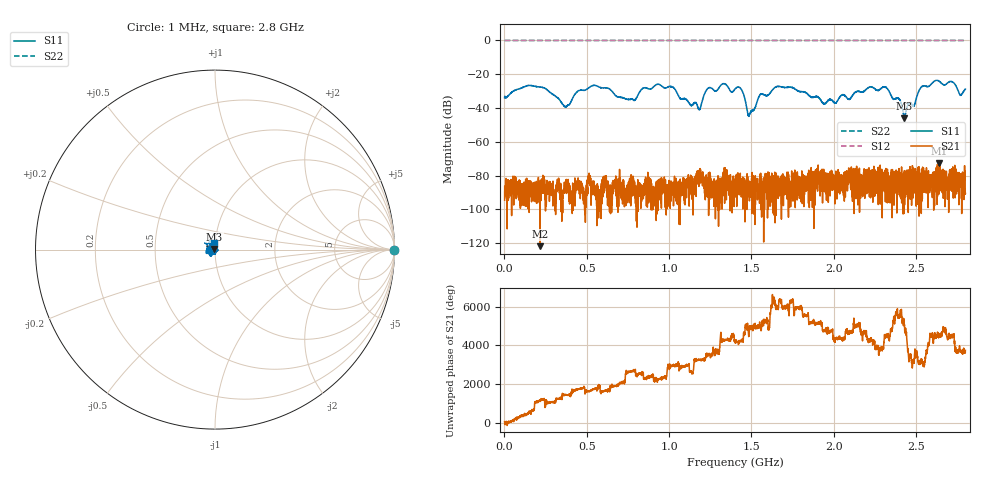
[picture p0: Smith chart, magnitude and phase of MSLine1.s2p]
! Anritsu VNA Master:  Model: MS2025B
! SN:  1642059
! /bd0/PROE/TP1/MSLine1.s2p
! Existing Calibration Information:
! TYPE:  Current Settings,  Active Cal Settings
! TIME:  04/16/2024 08:34:31 AM,  03/12/2018 11:45:53 AM
! INTERNAL TEMP:  41.8 C,  40.8 C
! # POINTS:  4001,  4001
! START FREQ:  1.000 MHz,  1.000 MHz
! STOP FREQ:  2.800 GHz,  2.800 GHz
! SOURCE POWER:  Default,  Default
! IFBW:  1 kHz,  1 kHz
! AVG FACTOR:  1 ,  1
! REF PLANE 1:  0 mm,  0 mm
! REF PLANE 2:  0 mm,  0 mm
! CAL TYPE:  1P2P S11,S21,  1P2P S11,S21
! CAL METHOD:  SOLT,  SOLT
! CAL LINE TYPE:  Coax,  Coax
! DUT PORT 1:  ,
! DUT PORT 2:  N-Conn(M),  N-Conn(M)
! CAL STATUS:  OK: Accuracy High,  --
# GHZ S MA R 50.0
! FREQ.GHZ  S11M  S11A  S21M  S21A  S12M  S12A  S22M  S22A
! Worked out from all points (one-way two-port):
!   4001 points, 1 MHz to 2.8 GHz, reference 50 ohm
!   highest |S21| = -72.68 dB at 2.638 GHz (marker M1); lowest = -121.8 dB at 215.1 MHz (marker M2)
!   lowest |S11| = -46.0 dB at 2.429 GHz (marker M3), VSWR 1.01, Z = 49.6 + j0.315 ohm
!   |S11| at or under -10 dB: start of sweep to end of sweep
!   |S22| runs from 0.0 to 0.0 dB; largest |S21 - S12| = 1
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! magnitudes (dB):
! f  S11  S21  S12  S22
! 1 MHz  -33.9  -94.5  0.0  0.0
! 215.1 MHz  -27.5  -121.8  0.0  0.0
! 369.8 MHz  -39.3  -88.0  0.0  0.0
! 467.7 MHz  -29.4  -87.0  0.0  0.0
! 553.1 MHz  -26.7  -88.3  0.0  0.0
! 784.7 MHz  -35.4  -86.0  0.0  0.0
! 934.5 MHz  -25.9  -86.6  0.0  0.0
! 1.182 GHz  -40.7  -78.4  0.0  0.0
! 1.241 GHz  -28.1  -78.7  0.0  0.0
! 1.401 GHz  -28.8  -85.1  0.0  0.0
! 1.44 GHz  -28.9  -86.6  0.0  0.0
! 1.488 GHz  -44.0  -95.0  0.0  0.0
! 1.555 GHz  -31.8  -86.5  0.0  0.0
! 1.657 GHz  -27.3  -88.2  0.0  0.0
! 1.867 GHz  -33.8  -82.0  0.0  0.0
! 1.944 GHz  -37.4  -82.0  0.0  0.0
! 2.221 GHz  -27.5  -77.1  0.0  0.0
! 2.334 GHz  -29.7  -87.7  0.0  0.0
! 2.429 GHz  -46.0  -78.7  0.0  0.0
! 2.533 GHz  -27.5  -78.0  0.0  0.0
! 2.638 GHz  -23.9  -72.7  0.0  0.0
! 2.8 GHz  -28.9  -90.6  0.0  0.0
